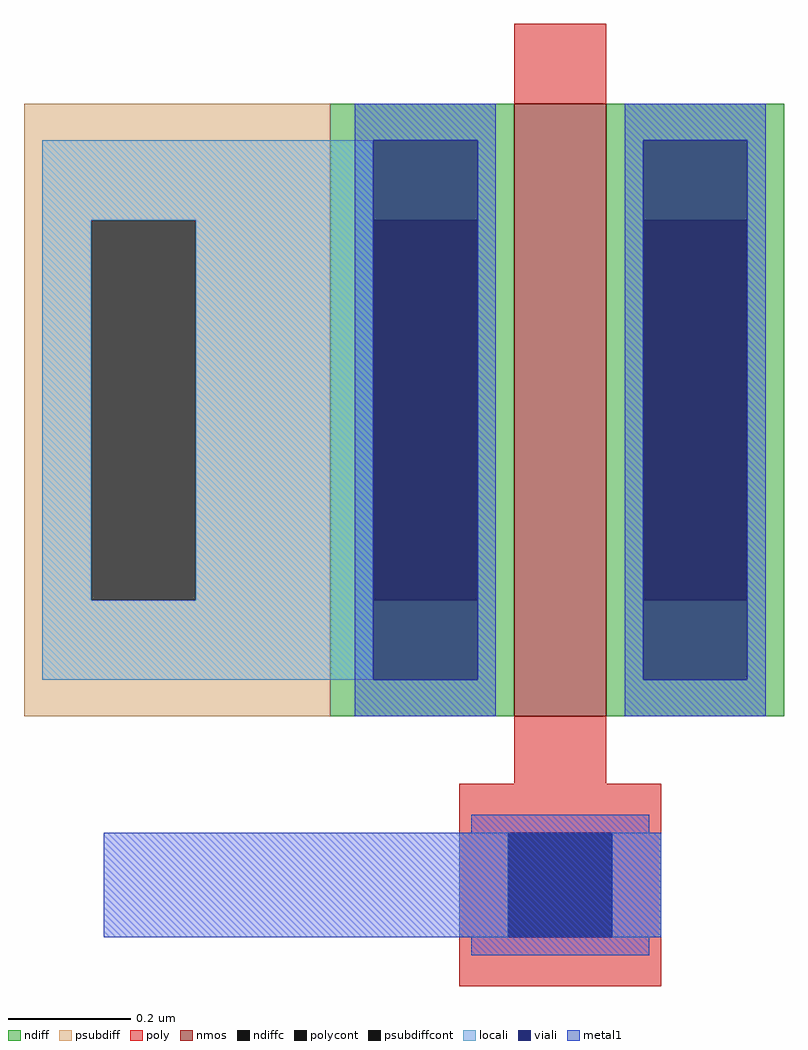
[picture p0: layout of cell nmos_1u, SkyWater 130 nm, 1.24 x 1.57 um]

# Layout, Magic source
magic
tech sky130A
magscale 1 2
<< ndiff >>
rect -12 74 -10 274
<< psubdiff >>
rect -112 236 -12 274
rect -112 112 -90 236
rect -56 112 -12 236
rect -112 74 -12 112
<< psubdiffcont >>
rect -90 112 -56 236
<< locali >>
rect -106 236 2 262
rect -106 112 -90 236
rect -56 112 2 236
rect -106 86 2 112
<< metal1 >>
rect -86 2 96 36
use sky130_fd_pr__nfet_01v8_7RYEVP  sky130_fd_pr__nfet_01v8_7RYEVP_0 ~/my_sky130_project/mag/myinv_layout2
transform 1 0 63 0 1 143
box -73 -157 73 157
<< end >>

# cell sky130_fd_pr__nfet_01v8_7RYEVP: kit device sky130_fd_pr__nfet_01v8, w 1 l 0.150 m 1 nf 1 diffcov 70 polycov 70 guard 0 glc 0 grc 0 gtc 0 gbc 0 tbcov 70 rlcov 70 topc 0 botc 1 poverlap 0 doverlap 1 lmin 0.15 wmin 0.42 compatible {sky130_fd_pr__nfet_01v8 sky130_fd_pr__nfet_01v8_lvt sky130_fd_bs_flash__special_sonosfet_star sky130_fd_pr__nfet_g5v0d10v5 sky130_fd_pr__nfet_05v0_nvt sky130_fd_pr__nfet_03v3_nvt} full_metal 0 viasrc 100 viadrn 100 viagate 100 viagb 0 viagr 0 viagl 0 viagt 0
